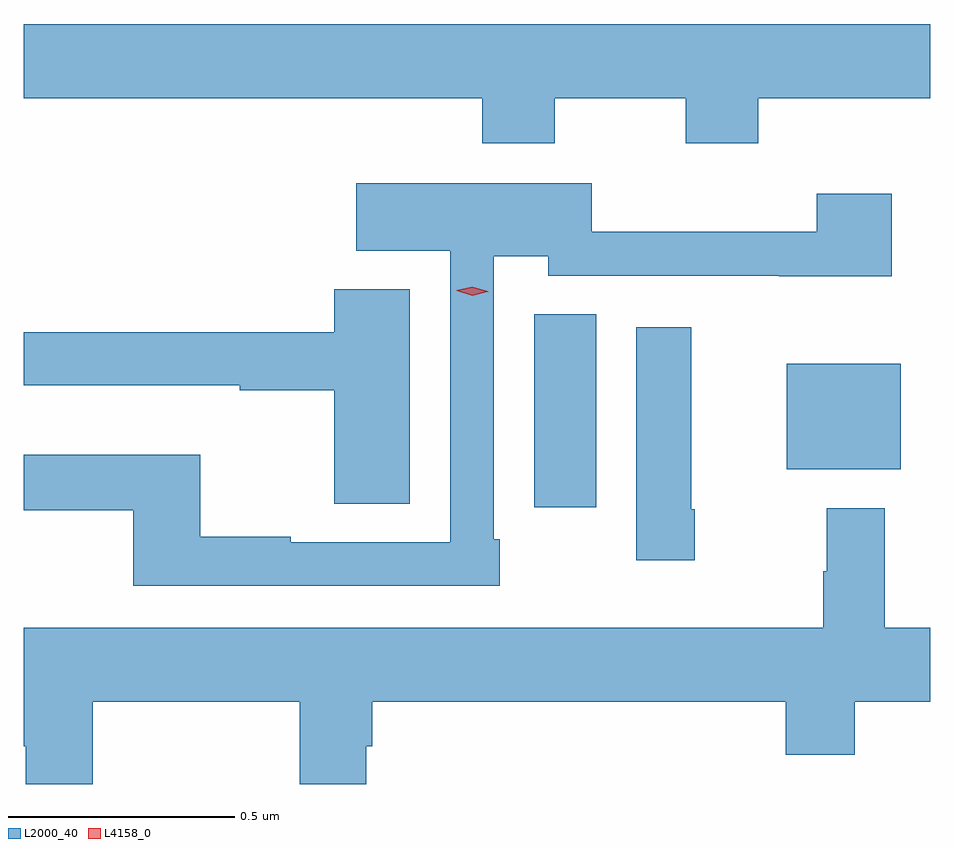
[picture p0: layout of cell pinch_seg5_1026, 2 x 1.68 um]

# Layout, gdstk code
import gdstk
lib = gdstk.Library(unit=1e-6, precision=1e-09)
def R(c, l, rs):  # rectangles x0, y0, x1, y1
    for r in rs: c.add(gdstk.rectangle(r[:2], r[2:], *l))
def P(c, l, *ps):  # polygons
    for p in ps: c.add(gdstk.Polygon(p, *l))
L2000_40 = (2000, 40)
L4158_0 = (4158, 0)

pinch_seg5_1026 = lib.new_cell('pinch_seg5_1026')
R(pinch_seg5_1026, L2000_40, [(746.333,869.178,746.47,869.603), (746.891,869.261,747.142,869.494)])
P(pinch_seg5_1026, L2000_40, [(746.379,870.08),(746.668,870.08),(746.668,869.981),(746.828,869.981),(746.828,870.08),(747.207,870.08),(747.207,870.244),(745.207,870.244),(745.207,870.08),(746.219,870.08),(746.219,869.981),(746.379,869.981)],
  [(746.257,869.107),(746.244,869.107),(746.244,869.732),(746.364,869.732),(746.364,869.688),(746.873,869.688),(746.873,869.687),(747.122,869.687),(747.122,869.869),(746.957,869.869),(746.957,869.786),(746.46,869.786),(746.46,869.893),(745.941,869.893),(745.941,869.744),(746.148,869.744),(746.148,869.1),(745.796,869.1),(745.796,869.113),(745.596,869.113),(745.596,869.293),(745.207,869.293),(745.207,869.171),(745.448,869.171),(745.448,869.004),(746.257,869.004)],
  [(746.059,869.659),(745.892,869.659),(745.892,869.564),(745.207,869.564),(745.207,869.447),(745.684,869.447),(745.684,869.436),(745.892,869.436),(745.892,869.185),(746.059,869.185)],
  [(746.688,869.173),(746.68,869.173),(746.68,869.575),(746.558,869.575),(746.558,869.061),(746.688,869.061)],
  [(745.359,868.748),(745.816,868.748),(745.816,868.567),(745.963,868.567),(745.963,868.65),(745.976,868.65),(745.976,868.748),(746.888,868.748),(746.888,868.631),(747.04,868.631),(747.04,868.748),(747.207,868.748),(747.207,868.912),(747.107,868.912),(747.107,869.176),(746.979,869.176),(746.979,869.036),(746.971,869.036),(746.971,868.912),(745.207,868.912),(745.207,868.65),(745.211,868.65),(745.211,868.567),(745.359,868.567)])
P(pinch_seg5_1026, L4158_0, [(746.196,869.644),(746.162,869.655),(746.162,869.655),(746.162,869.656),(746.197,869.664),(746.231,869.654),(746.232,869.653),(746.231,869.653)])

lib.write_gds('pinch_seg5_1026.gds')
